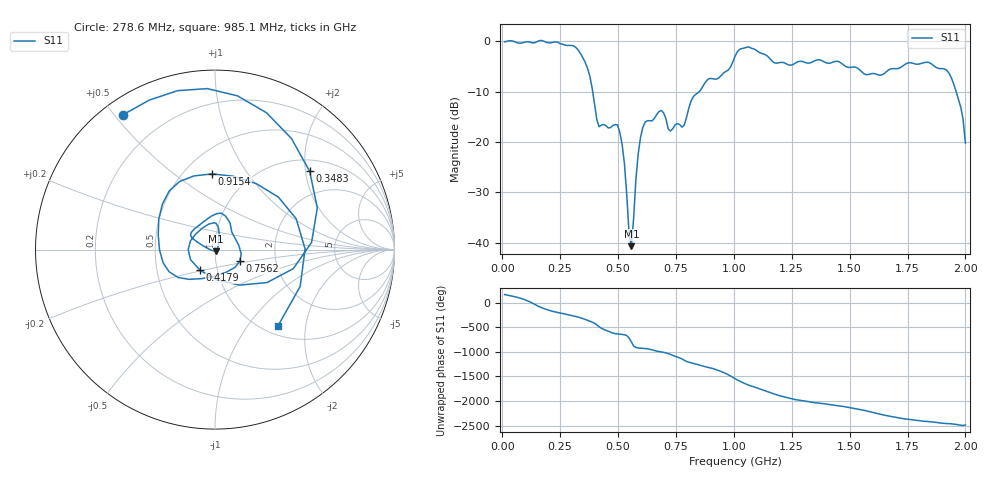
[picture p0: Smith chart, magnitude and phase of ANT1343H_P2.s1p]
!Created with skrf (http://scikit-rf.org).
# Hz S RI R 50.0
!freq ReS11 ImS11
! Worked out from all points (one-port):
!   201 points, 10 MHz to 2 GHz, reference 50 ohm
!   lowest |S11| = -40.7 dB at 557.2 MHz (marker M1), VSWR 1.02, Z = 50.3 - j0.888 ohm
!   |S11| at or under -10 dB: 390.4 MHz to 850.1 MHz (459.6 MHz wide, 74.1 % of centre); 1.96 GHz to end of sweep
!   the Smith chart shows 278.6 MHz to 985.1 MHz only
!   S11 on the Smith chart (normalised r, x): 278.6 MHz: 0.06, +0.53; 348.3 MHz: 1.29, +2.11; 417.9 MHz: 0.83, -0.19; 756.2 MHz: 1.31, -0.18; 915.5 MHz: 0.68, +0.70; 985.1 MHz: 1.16, -1.41
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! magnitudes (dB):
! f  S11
! 10 MHz  -0.1
! 258.8 MHz  -0.6
! 278.6 MHz  -0.8
! 348.3 MHz  -3.3
! 378.1 MHz  -7.0
! 417.9 MHz  -17.0
! 507.5 MHz  -18.1
! 527.4 MHz  -24.2
! 547.3 MHz  -38.0
! 557.2 MHz  -40.7
! 587.1 MHz  -22.3
! 607 MHz  -17.1
! 686.6 MHz  -13.7
! 726.4 MHz  -17.8
! 756.2 MHz  -16.3
! 786.1 MHz  -16.6
! 825.9 MHz  -10.9
! 915.5 MHz  -7.5
! 985.1 MHz  -5.2
! 1.005 GHz  -3.0
! 1.065 GHz  -1.1
! 1.254 GHz  -4.6
! 1.502 GHz  -5.2
! 1.632 GHz  -6.7
! 1.751 GHz  -4.3
! 1.93 GHz  -6.4
! 1.98 GHz  -13.1
! 2 GHz  -20.2
